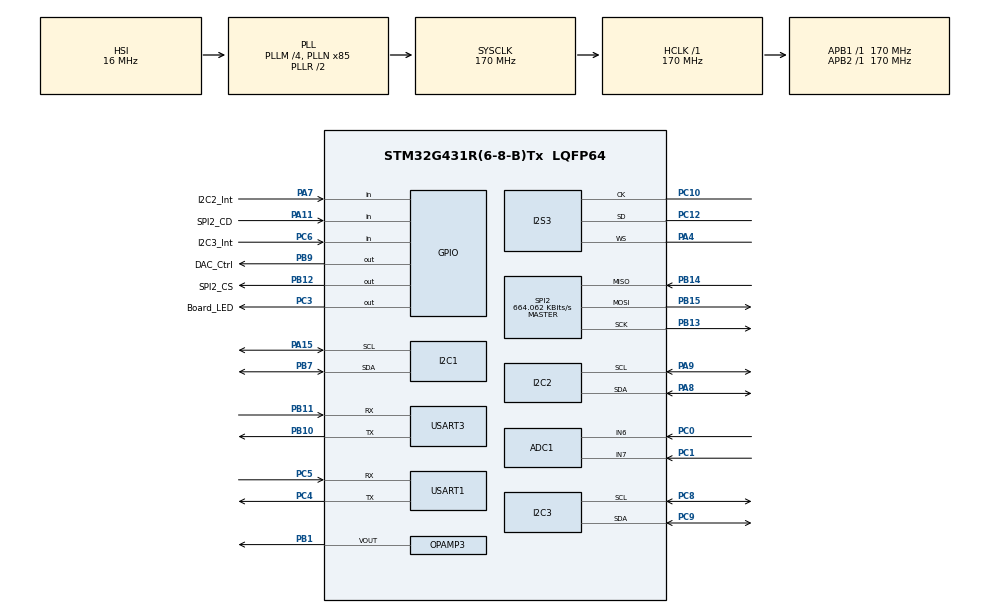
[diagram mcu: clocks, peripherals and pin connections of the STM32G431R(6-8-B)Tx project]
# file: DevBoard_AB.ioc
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ADC1.Channel-0\#ChannelRegularConversion=ADC_CHANNEL_6
ADC1.NbrOfConversionFlag=1
ADC1.OffsetNumber-0\#ChannelRegularConversion=ADC_OFFSET_NONE
ADC1.Rank-0\#ChannelRegularConversion=1
ADC1.SamplingTime-0\#ChannelRegularConversion=ADC_SAMPLETIME_2CYCLES_5
ADC1.SingleDiff-0\#ChannelRegularConversion=ADC_DIFFERENTIAL_ENDED
ADC1.master=1
DAC3.DAC_Channel-DAC_OUT2_Int=DAC_CHANNEL_2
Dma.Request0=SPI3_TX
Dma.Request1=USART1_RX
Dma.Request2=USART1_TX
Dma.SPI3_TX.0.Direction=DMA_MEMORY_TO_PERIPH
Dma.SPI3_TX.0.EventEnable=DISABLE
Dma.SPI3_TX.0.Instance=DMA1_Channel1
Dma.SPI3_TX.0.MemDataAlignment=DMA_MDATAALIGN_HALFWORD
Dma.SPI3_TX.0.MemInc=DMA_MINC_ENABLE
Dma.SPI3_TX.0.Mode=DMA_CIRCULAR
Dma.SPI3_TX.0.PeriphDataAlignment=DMA_PDATAALIGN_HALFWORD
Dma.SPI3_TX.0.PeriphInc=DMA_PINC_DISABLE
Dma.SPI3_TX.0.Polarity=HAL_DMAMUX_REQ_GEN_RISING
Dma.SPI3_TX.0.Priority=DMA_PRIORITY_LOW
Dma.SPI3_TX.0.RequestNumber=1
Dma.SPI3_TX.0.SignalID=NONE
Dma.SPI3_TX.0.SyncEnable=DISABLE
Dma.SPI3_TX.0.SyncPolarity=HAL_DMAMUX_SYNC_NO_EVENT
Dma.SPI3_TX.0.SyncRequestNumber=1
Dma.SPI3_TX.0.SyncSignalID=NONE
Dma.USART1_RX.1.Direction=DMA_PERIPH_TO_MEMORY
Dma.USART1_RX.1.EventEnable=DISABLE
Dma.USART1_RX.1.Instance=DMA1_Channel2
Dma.USART1_RX.1.MemDataAlignment=DMA_MDATAALIGN_BYTE
Dma.USART1_RX.1.MemInc=DMA_MINC_ENABLE
Dma.USART1_RX.1.Mode=DMA_NORMAL
Dma.USART1_RX.1.PeriphDataAlignment=DMA_PDATAALIGN_BYTE
Dma.USART1_RX.1.PeriphInc=DMA_PINC_DISABLE
Dma.USART1_RX.1.Polarity=HAL_DMAMUX_REQ_GEN_RISING
Dma.USART1_RX.1.Priority=DMA_PRIORITY_LOW
Dma.USART1_RX.1.RequestNumber=1
Dma.USART1_RX.1.SignalID=NONE
Dma.USART1_RX.1.SyncEnable=DISABLE
Dma.USART1_RX.1.SyncPolarity=HAL_DMAMUX_SYNC_NO_EVENT
Dma.USART1_RX.1.SyncRequestNumber=1
Dma.USART1_RX.1.SyncSignalID=NONE
Dma.USART1_TX.2.Direction=DMA_MEMORY_TO_PERIPH
Dma.USART1_TX.2.EventEnable=DISABLE
Dma.USART1_TX.2.Instance=DMA1_Channel3
Dma.USART1_TX.2.MemDataAlignment=DMA_MDATAALIGN_BYTE
Dma.USART1_TX.2.MemInc=DMA_MINC_ENABLE
Dma.USART1_TX.2.Mode=DMA_NORMAL
Dma.USART1_TX.2.PeriphDataAlignment=DMA_PDATAALIGN_BYTE
Dma.USART1_TX.2.PeriphInc=DMA_PINC_DISABLE
Dma.USART1_TX.2.Polarity=HAL_DMAMUX_REQ_GEN_RISING
Dma.USART1_TX.2.Priority=DMA_PRIORITY_LOW
Dma.USART1_TX.2.RequestNumber=1
Dma.USART1_TX.2.SignalID=NONE
Dma.USART1_TX.2.SyncEnable=DISABLE
Dma.USART1_TX.2.SyncPolarity=HAL_DMAMUX_SYNC_NO_EVENT
Dma.USART1_TX.2.SyncRequestNumber=1
Dma.USART1_TX.2.SyncSignalID=NONE
I2C1.Timing=0x40B285C2
I2C2.Timing=0x40B285C2
I2C3.Timing=0x40B285C2
I2S3.AudioFreq=I2S_AUDIOFREQ_44K
I2S3.ErrorAudioFreq=-0.21 %
I2S3.FullDuplexMode=I2S_FULLDUPLEXMODE_DISABLE
I2S3.Instance=SPI$Index
I2S3.RealAudioFreq=43.904 KHz
I2S3.VirtualMode=I2S_MODE_MASTER
Mcu.Family=STM32G4
Mcu.Name=STM32G431R(6-8-B)Tx
Mcu.Package=LQFP64
NUCLEO-G431RB.BUTTON=1
NUCLEO-G431RB.LD1=true
NUCLEO-G431RB.VCP=true
NVIC.DMA1_Channel1_IRQn=true\:0\:0\:false\:false\:true\:false\:true\:true
NVIC.DMA1_Channel2_IRQn=true\:0\:0\:false\:false\:true\:false\:true\:true
NVIC.DMA1_Channel3_IRQn=true\:0\:0\:false\:false\:true\:false\:true\:true
NVIC.EXTI15_10_IRQn=true\:0\:0\:false\:false\:true\:false\:true\:true
NVIC.PriorityGroup=NVIC_PRIORITYGROUP_4
NVIC.USART1_IRQn=true\:0\:0\:false\:false\:true\:true\:true\:true
PA11.GPIO_Label=SPI2_CD
PA11.GPIO_PuPd=GPIO_PULLUP
PA11.Signal=GPIO_Input
PA13.GPIO_Label=T_SWDIO
PA13.Signal=SYS_JTMS-SWDIO
PA14.GPIO_Label=T_SWCLK
PA14.Signal=SYS_JTCK-SWCLK
PA15.Mode=I2C
PA15.Signal=I2C1_SCL
PA2.Signal=LPUART1_TX
PA3.Signal=LPUART1_RX
PA4.GPIO_PuPd=GPIO_NOPULL
PA4.Mode=Half_Duplex_Master
PA4.Signal=I2S3_WS
PA7.GPIO_Label=I2C2_Int
PA7.GPIO_PuPd=GPIO_PULLUP
PA7.Signal=GPIO_Input
PA8.Mode=I2C
PA8.Signal=I2C2_SDA
PA9.Mode=I2C
PA9.Signal=I2C2_SCL
PB1.Mode=Follower-DAC_OUT2-INP
PB1.Signal=OPAMP3_VOUT
PB10.GPIO_PuPd=GPIO_PULLUP
PB10.Mode=Asynchronous
PB10.Signal=USART3_TX
PB11.GPIO_PuPd=GPIO_PULLUP
PB11.Mode=Asynchronous
PB11.Signal=USART3_RX
PB12.GPIO_Label=SPI2_CS
PB12.GPIO_PuPd=GPIO_PULLUP
PB12.PinState=GPIO_PIN_SET
PB12.Signal=GPIO_Output
PB13.GPIO_PuPd=GPIO_PULLUP
PB13.Mode=Full_Duplex_Master
PB13.Signal=SPI2_SCK
PB14.GPIO_PuPd=GPIO_PULLUP
PB14.Mode=Full_Duplex_Master
PB14.Signal=SPI2_MISO
PB15.GPIO_PuPd=GPIO_PULLUP
PB15.Mode=Full_Duplex_Master
PB15.Signal=SPI2_MOSI
PB3.GPIO_Label=T_SWO
PB3.Signal=SYS_JTDO-SWO
PB7.Mode=I2C
PB7.Signal=I2C1_SDA
PB9.GPIO_Label=DAC_Ctrl
PB9.Signal=GPIO_Output
PC0.Mode=IN6-Differential
PC0.Signal=ADC1_IN6
PC1.Mode=IN6-Differential
PC1.Signal=ADC1_IN7
PC10.Mode=Half_Duplex_Master
PC10.Signal=I2S3_CK
PC12.Mode=Half_Duplex_Master
PC12.Signal=I2S3_SD
PC14-OSC32_IN.GPIO_Label=RCC_OSC32_OUT
PC14-OSC32_IN.Signal=RCC_OSC32_IN
PC15-OSC32_OUT.GPIO_Label=RCC_OSC32_OUT
PC15-OSC32_OUT.Signal=RCC_OSC32_OUT
PC2.Signal=ADC1_IN8
PC3.GPIO_Label=Board_LED
PC3.Signal=GPIO_Output
PC4.GPIO_PuPd=GPIO_PULLUP
PC4.Mode=Asynchronous
PC4.Signal=USART1_TX
PC5.GPIO_PuPd=GPIO_PULLUP
PC5.Mode=Asynchronous
PC5.Signal=USART1_RX
PC6.GPIO_Label=I2C3_Int
PC6.Signal=GPIO_Input
PC8.Mode=I2C
PC8.Signal=I2C3_SCL
PC9.Mode=I2C
PC9.Signal=I2C3_SDA
PF0-OSC_IN.GPIO_Label=RCC_OSC_IN
PF0-OSC_IN.Mode=HSE-External-Oscillator
PF0-OSC_IN.Signal=RCC_OSC_IN
PF1-OSC_OUT.GPIO_Label=RCC_OSC_OUT
PF1-OSC_OUT.Mode=HSE-External-Oscillator
PF1-OSC_OUT.Signal=RCC_OSC_OUT
ProjectManager.HeapSize=0x200
ProjectManager.StackSize=0x400
ProjectManager.TargetToolchain=STM32CubeIDE
RCC.ADC12Freq_Value=170000000
RCC.AHBFreq_Value=170000000
RCC.APB1Freq_Value=170000000
RCC.APB1TimFreq_Value=170000000
RCC.APB2Freq_Value=170000000
RCC.APB2TimFreq_Value=170000000
RCC.CortexFreq_Value=170000000
RCC.EXTERNAL_CLOCK_VALUE=12288000
RCC.HCLKFreq_Value=170000000
RCC.HSE_VALUE=24000000
RCC.HSI48_VALUE=48000000
RCC.HSI_VALUE=16000000
RCC.LSE_VALUE=32768
RCC.PLLM=RCC_PLLM_DIV4
RCC.PLLN=85
RCC.RTCClockSelection=RCC_RTCCLKSOURCE_LSE
RCC.SYSCLKFreq_VALUE=170000000
RCC.SYSCLKSource=RCC_SYSCLKSOURCE_PLLCLK
RCC.USBFreq_Value=170000000
RCC.VCOOutputFreq_Value=340000000
SPI2.BaudRatePrescaler=SPI_BAUDRATEPRESCALER_256
SPI2.CalculateBaudRate=664.062 KBits/s
SPI2.DataSize=SPI_DATASIZE_8BIT
SPI2.Direction=SPI_DIRECTION_2LINES
SPI2.Mode=SPI_MODE_MASTER
SPI2.VirtualType=VM_MASTER
USART1.VirtualMode-Asynchronous=VM_ASYNC
USART3.VirtualMode-Asynchronous=VM_ASYNC
VP_DAC3_VS_DACI2.Mode=DAC_OUT2_Int
VP_FATFS_VS_Generic.Mode=User_defined
VP_NUCLEO-G431RB_VS_BSP_COMMON.Mode=COMMON
VP_SYS_VS_DBSignals.Mode=DisableDeadBatterySignals
board=NUCLEO-G431RB

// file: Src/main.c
/* USER CODE BEGIN Header */
/**
  ******************************************************************************
  * @file           : main.c
  * @brief          : Main program body
  ******************************************************************************
  * @attention
  *
  * Copyright (c) 2026 STMicroelectronics.
  * All rights reserved.
  *
  * This software is licensed under terms that can be found in the LICENSE file
  * in the root directory of this software component.
  * If no LICENSE file comes with this software, it is provided AS-IS.
  *
  ******************************************************************************
  */
/* USER CODE END Header */
#include "main.h"
#include "app_fatfs.h"

/* USER CODE BEGIN Includes */
#include <stdio.h>
#include <string.h>
#include <stdarg.h>
#include <math.h>
#include "my_TLV320DAC3100_driver.h"
/* USER CODE END Includes */

/* USER CODE BEGIN PD */
#define UART_MAX_SIZE 64

// 1024 buffer gives 256 samples of left and right per update (ping and pong)
// At 44.1 kHz, 256 samples is 5.8 ms.  Outputting sequential samples
// gives a frequency of 43 Hz.
#define AUDIO_BUF_SIZE 1024
#define SINE_BUF_SIZE 1024

/* USER CODE END PD */

COM_InitTypeDef BspCOMInit;
ADC_HandleTypeDef hadc1;

DAC_HandleTypeDef hdac3;

I2C_HandleTypeDef hi2c1;
I2C_HandleTypeDef hi2c2;
I2C_HandleTypeDef hi2c3;

I2S_HandleTypeDef hi2s3;
DMA_HandleTypeDef hdma_spi3_tx;

OPAMP_HandleTypeDef hopamp3;

SPI_HandleTypeDef hspi2;

UART_HandleTypeDef huart1;
UART_HandleTypeDef huart3;
DMA_HandleTypeDef hdma_usart1_rx;
DMA_HandleTypeDef hdma_usart1_tx;

/* USER CODE BEGIN PV */
DAC3100_HandleTypeDef my_dac;
uint16_t audioBuffer[AUDIO_BUF_SIZE];
int16_t sineBuffer[SINE_BUF_SIZE];
uint32_t sineFrequency = 440;
uint32_t sampleRate = 44100;
uint32_t phasePointer = 0;

volatile uint8_t fill_ping = 0;
volatile uint8_t fill_pong = 0;

uint8_t UART_rxBuffer[128];
uint16_t sampleBuffer[256];
/* USER CODE END PV */

void SystemClock_Config(void);
static void MX_GPIO_Init(void);
static void MX_DMA_Init(void);
static void MX_DAC3_Init(void);
static void MX_I2C1_Init(void);
static void MX_I2C2_Init(void);
static void MX_I2C3_Init(void);
static void MX_I2S3_Init(void);
static void MX_OPAMP3_Init(void);
static void MX_SPI2_Init(void);
static void MX_USART3_UART_Init(void);
static void MX_ADC1_Init(void);
static void MX_USART1_UART_Init(void);

/* USER CODE BEGIN 0 */
// Called when the DMA reaches the halfway mark of the audio buffer
void HAL_I2S_TxHalfCpltCallback(I2S_HandleTypeDef *hi2s)
{
    if (hi2s->Instance == hi2s3.Instance) {
        fill_ping = 1; // Signal the main loop to overwrite the first half
    }
}

// Called when the DMA reaches the exact end of the audio buffer
void HAL_I2S_TxCpltCallback(I2S_HandleTypeDef *hi2s)
{
    if (hi2s->Instance == hi2s3.Instance) {
        fill_pong = 1; // Signal the main loop to overwrite the second half
    }
}

// Called when something arrives back over the serial port
uint32_t rxStuffHereFlag = 0;
void HAL_UARTEx_RxEventCallback(UART_HandleTypeDef *huart, uint16_t Size) {
    if (huart->Instance == USART1) {
        // 'Size' gives you the exact number of bytes actually received
        // Process data up to rx_buffer[Size - 1]
    	rxStuffHereFlag = Size;

    	// Abort any remaining DMA transfer before re-initiating
        HAL_UART_AbortReceive(huart);

        // Re-start reception
        HAL_UARTEx_ReceiveToIdle_DMA(&huart1, UART_rxBuffer, UART_MAX_SIZE);
    }
}

// Fill up the sine buffer with a sampled sinewave (note sineBuffer is signed):
void FillSineBuffer() {
	double twopi = 6.28318530718;
	for (uint32_t loop = 0; loop < SINE_BUF_SIZE; loop++) {
		sineBuffer[loop] = (int16_t)(30000 * sin(loop * twopi / SINE_BUF_SIZE));
	}
}
/* USER CODE END 0 */

int main(void)
{

  /* MCU Configuration--------------------------------------------------------*/

  /* Reset of all peripherals, Initializes the Flash interface and the Systick. */
  HAL_Init();

  /* Configure the system clock */
  SystemClock_Config();

  /* Initialize all configured peripherals */
  MX_GPIO_Init();
  MX_DMA_Init();
  MX_DAC3_Init();
  MX_I2C1_Init();
  MX_I2C2_Init();
  MX_I2C3_Init();
  MX_I2S3_Init();
  MX_OPAMP3_Init();
  MX_SPI2_Init();
  MX_USART3_UART_Init();
  MX_ADC1_Init();
  MX_USART1_UART_Init();
  if (MX_FATFS_Init() != APP_OK) {
    Error_Handler();
  }
  /* USER CODE BEGIN 2 */

  // Can't use this space since the BSP functions are put after it.
  // Annoying, this.

  /* USER CODE END 2 */

  /* Initialize leds */
  BSP_LED_Init(LED_GREEN);

  /* Initialize USER push-button, will be used to trigger an interrupt each time it's pressed.*/
  BSP_PB_Init(BUTTON_USER, BUTTON_MODE_EXTI);

  /* Initialize COM1 port (115200, 8 bits (7-bit data + 1 stop bit), no parity */
  BspCOMInit.BaudRate   = 115200;
  BspCOMInit.WordLength = COM_WORDLENGTH_8B;
  BspCOMInit.StopBits   = COM_STOPBITS_1;
  BspCOMInit.Parity     = COM_PARITY_NONE;
  BspCOMInit.HwFlowCtl  = COM_HWCONTROL_NONE;
  if (BSP_COM_Init(COM1, &BspCOMInit) != BSP_ERROR_NONE)
  {
    Error_Handler();
  }

  /* Infinite loop */
  /* USER CODE BEGIN WHILE */
  // This stuff put here (after the "Infinite loop" comment) because STM32CubeMX has this
  // strange habit of putting the BSP functions after User Code 2.

  // SD code is based on the demo by kiwih - see docs
  printf("\r\n~ Trying to access the SD card ~\r\n");
  HAL_Delay(1000); //a short delay is important to let the SD card settle

  // Some variables required for FatFs
  FATFS FatFs; 	// Fatfs handle
  FIL fil; 		// File handle
  FRESULT fres; // Result after operations

  // Open the file system
  fres = f_mount(&FatFs, "", 1); // 1 = mount now
  if (fres != FR_OK) {
	printf("f_mount error (%i)\r\n", fres);
	while(1);
  }

  // Let's get some statistics from the SD card:
  DWORD free_clusters, free_sectors, total_sectors;

  FATFS* getFreeFs;

  fres = f_getfree("", &free_clusters, &getFreeFs);
  if (fres != FR_OK) {
	printf("f_getfree error (%i)\r\n", fres);
	while(1);
  }

  // Formula comes from ChaN's documentation:
  total_sectors = (getFreeFs->n_fatent - 2) * getFreeFs->csize;
  free_sectors = free_clusters * getFreeFs->csize;

  printf("SD card stats:\r\n%10lu KiB total drive space.\r\n%10lu KiB available.\r\n", total_sectors / 2, free_sectors / 2);

  // Not done yet (there is audio on the drive) so do not demount it:
  // f_mount(NULL, "", 0);

  // Try to open up the file of sound samples from the SD card, which for this
  // example has to be called "sound.dat" and be a raw 16-bit file of samples
  // with no headers.
  fres = f_open(&fil, "sound.dat", FA_READ);
  if (fres != FR_OK) {
	printf("f_open error (%i) on sound.dat file\r\n", fres);
	while(1);
  }
  printf("Good news: I was able to open 'sound.dat' for reading.\r\n");

  // Check I can read the first 512 byte chunk from the file into the sample buffer:
  BYTE readBufAudio[512];

  // Raw binary data, so use f_read() not f_gets():
  UINT bytesRead = 0;
  FRESULT frres = f_read(&fil, (TCHAR*)readBufAudio, 512, &bytesRead);
  if(frres == FR_OK) {
	printf("Read %i sound samples from 'sound.dat'.\r\n", (int)bytesRead);
  } else {
	printf("f_read error on sound.dat (%i)\r\n", frres);
  }

  // And if all is well, convert these samples into a set of 256 16-bit samples
  // stored in sampleBuffer:
  for (uint32_t loop = 0; loop < 256; loop++) {
	  sampleBuffer[loop] = (readBufAudio[2*loop + 1] << 8) + readBufAudio[2*loop];
  }

  // Fill up the array of sine samples:
  FillSineBuffer();
  printf("Sine buffer filled.\n");

  // Start reception from the UART:
  HAL_UARTEx_ReceiveToIdle_DMA(&huart1, UART_rxBuffer, UART_MAX_SIZE);

  // Send out a trial message from the UART:
  char my_data[4];
  my_data[0] = 244;
  my_data[1] = 1;
  my_data[2] = 0;
  my_data[3] = 1;

  HAL_UART_Transmit_DMA(&huart1, (uint8_t*)my_data, sizeof(my_data));
  printf("Message sent from serial port.\n");

  // Next, try setting up the audio DAC:
  printf("\r\n~ Setting up the TLV320DAC3100 audio DAC ~\r\n");

  // I might need to set the I2S going first, so the DAC PLL has something
  // to lock onto.  But before anything else: reset the DAC (it has a habit
  // of hanging in an undefined state when powered up:
  HAL_GPIO_WritePin(GPIOB, GPIO_PIN_9, GPIO_PIN_RESET);
  HAL_Delay(20);
  HAL_GPIO_WritePin(GPIOB, GPIO_PIN_9, GPIO_PIN_SET);
  HAL_Delay(20);

  my_init_tlv320DAC3100(&my_dac, &hi2c1, &hi2s3);
  DAC3100_StartAudio(&hi2s3, audioBuffer, AUDIO_BUF_SIZE);
  uint32_t pingGoing = 0;

  // For this test program, I'll get the pitch of the note to change
  // every time the machine detects a sample coming in.  This needs a set of
  // different pitches, which are stored in terms of the increment of the
  // phase variable each time.
  uint32_t currentToneIndex = 0;
  float pitchFrequencies[] = {130, 146, 164, 196, 220, 261, 293, 329, 392, 440, 523};
  float currentPhaseStep = pitchFrequencies[currentToneIndex++] / 43.07;
  float currentPhaseOffset = 0;

  while (1)
  {
	// HAL_Delay(500);

	if (rxStuffHereFlag > 0) {

		// The prints are effectively commented out, as the printf() was taking so long
		// it was causing transient glitches in the audio every time something needed to
		// be printed out.
		if (rxStuffHereFlag > 1000) {
			printf("UART data received: length %d: ", (int)rxStuffHereFlag);
			for (int u = 0; u < rxStuffHereFlag; u++) {
				printf("0x%x ", UART_rxBuffer[u]);
			}
			printf("\r\n");
		}

		// Reset flag:
		rxStuffHereFlag = 0;

		// And start a ping:
		pingGoing = 1;
    	f_rewind(&fil);

    	// Then change the pitch of the sinewave:
    	if (currentToneIndex > 10) currentToneIndex = 0;
    	currentPhaseStep = pitchFrequencies[currentToneIndex++] / 43.07;
	}

	uint32_t startFill = 0, endFill = 0;
	if (fill_ping) {
		endFill = AUDIO_BUF_SIZE / 2;
		fill_ping = 0;
	}
	else if (fill_pong) {
		startFill = AUDIO_BUF_SIZE / 2;
		endFill = AUDIO_BUF_SIZE;
		fill_pong = 0;
	}

	if (startFill != endFill) {
		// For testing, I'd like to know how long this fill process takes, so I'll set
		// a pin high when it starts, then reset it low again at the end.  I can then
		// take a look on the scope while it's running at full speed.  I'll use PB8
		// as it's easy to find on the connector and not doing anything else.
        HAL_GPIO_WritePin(GPIOB, GPIO_PIN_8, GPIO_PIN_SET);

		// Refresh whichever half of the audio buffer needs refreshing.
		// For now, I'll just read one sample of sineBuffer per sample in audio_buffer;
		// I can worry about the frequency later.
        for (uint32_t loop = startFill; loop < endFill; loop += 2) {
           currentPhaseOffset += currentPhaseStep;
           if (currentPhaseOffset > SINE_BUF_SIZE) currentPhaseOffset -= SINE_BUF_SIZE;
           uint16_t thisPhase = (uint16_t) currentPhaseOffset;
     	   audioBuffer[loop] = (uint16_t)(sineBuffer[thisPhase]);
     	   audioBuffer[loop + 1] = (uint16_t)(sineBuffer[thisPhase]);
        }

        // Next, check to see if a ping is in progress, and if so, use the next lot of samples.
        // Note I've arranged this so that AUDIO_BUF_SIZE is exactly 512 bytes' worth of data
        // from the microSD card for simplicity and efficiency: I can just upload the next lot
        // of data into the audioBuffer, and then immediately get the next lot from the SD card:
        if (pingGoing > 0) {

        	// First, read the next 512 bytes (256 samples) from the sound.dat file:
            UINT bytesReadInLoop = 0;
            FRESULT frres = f_read(&fil, (TCHAR*)readBufAudio, 512, &bytesReadInLoop);
            if (bytesReadInLoop == 512) {
            	for (uint32_t loop = 0; loop < bytesReadInLoop / 2; loop++) {
            		sampleBuffer[loop] = (readBufAudio[2*loop + 1] << 8) + readBufAudio[2*loop];
            	}
            }
            else {
            	// We've run out of audio data.  Set everything to silent and turn off the ping:
            	for (uint32_t loop = 0; loop < 256; loop += 2) {
            		sampleBuffer[loop] = 0;
            	}
               	pingGoing = 0;
            }

            // Then use this sample data to fill up the audio buffer:
            uint32_t index = 0;
            for (uint32_t loop = startFill; loop < endFill; loop += 2) {
         	   audioBuffer[loop + 1] = (uint16_t)(sampleBuffer[index++]);
            }
        }
        else {
            for (uint32_t loop = startFill; loop < endFill; loop += 2) {
         	   audioBuffer[loop + 1] = 0;
            }
        }

        // Reset to logic low the test pin used for timing checks:
		HAL_GPIO_WritePin(GPIOB, GPIO_PIN_8, GPIO_PIN_RESET);
	}

    /* USER CODE END WHILE */

  }
}

void SystemClock_Config(void)
{
  RCC_OscInitTypeDef RCC_OscInitStruct = {0};
  RCC_ClkInitTypeDef RCC_ClkInitStruct = {0};

  /** Configure the main internal regulator output voltage
  */
  HAL_PWREx_ControlVoltageScaling(PWR_REGULATOR_VOLTAGE_SCALE1_BOOST);

  /** Initializes the RCC Oscillators according to the specified parameters
  * in the RCC_OscInitTypeDef structure.
  */
  RCC_OscInitStruct.OscillatorType = RCC_OSCILLATORTYPE_HSI;
  RCC_OscInitStruct.HSIState = RCC_HSI_ON;
  RCC_OscInitStruct.HSICalibrationValue = RCC_HSICALIBRATION_DEFAULT;
  RCC_OscInitStruct.PLL.PLLState = RCC_PLL_ON;
  RCC_OscInitStruct.PLL.PLLSource = RCC_PLLSOURCE_HSI;
  RCC_OscInitStruct.PLL.PLLM = RCC_PLLM_DIV4;
  RCC_OscInitStruct.PLL.PLLN = 85;
  RCC_OscInitStruct.PLL.PLLP = RCC_PLLP_DIV2;
  RCC_OscInitStruct.PLL.PLLQ = RCC_PLLQ_DIV2;
  RCC_OscInitStruct.PLL.PLLR = RCC_PLLR_DIV2;
  if (HAL_RCC_OscConfig(&RCC_OscInitStruct) != HAL_OK)
  {
    Error_Handler();
  }

  /** Initializes the CPU, AHB and APB buses clocks
  */
  RCC_ClkInitStruct.ClockType = RCC_CLOCKTYPE_HCLK|RCC_CLOCKTYPE_SYSCLK
                              |RCC_CLOCKTYPE_PCLK1|RCC_CLOCKTYPE_PCLK2;
  RCC_ClkInitStruct.SYSCLKSource = RCC_SYSCLKSOURCE_PLLCLK;
  RCC_ClkInitStruct.AHBCLKDivider = RCC_SYSCLK_DIV1;
  RCC_ClkInitStruct.APB1CLKDivider = RCC_HCLK_DIV1;
  RCC_ClkInitStruct.APB2CLKDivider = RCC_HCLK_DIV1;

  if (HAL_RCC_ClockConfig(&RCC_ClkInitStruct, FLASH_LATENCY_4) != HAL_OK)
  {
    Error_Handler();
  }
}

static void MX_ADC1_Init(void)
{

  ADC_MultiModeTypeDef multimode = {0};
  ADC_ChannelConfTypeDef sConfig = {0};

  /** Common config
  */
  hadc1.Instance = ADC1;
  hadc1.Init.ClockPrescaler = ADC_CLOCK_SYNC_PCLK_DIV4;
  hadc1.Init.Resolution = ADC_RESOLUTION_12B;
  hadc1.Init.DataAlign = ADC_DATAALIGN_RIGHT;
  hadc1.Init.GainCompensation = 0;
  hadc1.Init.ScanConvMode = ADC_SCAN_DISABLE;
  hadc1.Init.EOCSelection = ADC_EOC_SINGLE_CONV;
  hadc1.Init.LowPowerAutoWait = DISABLE;
  hadc1.Init.ContinuousConvMode = DISABLE;
  hadc1.Init.NbrOfConversion = 1;
  hadc1.Init.DiscontinuousConvMode = DISABLE;
  hadc1.Init.ExternalTrigConv = ADC_SOFTWARE_START;
  hadc1.Init.ExternalTrigConvEdge = ADC_EXTERNALTRIGCONVEDGE_NONE;
  hadc1.Init.DMAContinuousRequests = DISABLE;
  hadc1.Init.Overrun = ADC_OVR_DATA_PRESERVED;
  hadc1.Init.OversamplingMode = DISABLE;
  if (HAL_ADC_Init(&hadc1) != HAL_OK)
  {
    Error_Handler();
  }

  /** Configure the ADC multi-mode
  */
  multimode.Mode = ADC_MODE_INDEPENDENT;
  if (HAL_ADCEx_MultiModeConfigChannel(&hadc1, &multimode) != HAL_OK)
  {
    Error_Handler();
  }

  /** Configure Regular Channel
  */
  sConfig.Channel = ADC_CHANNEL_6;
  sConfig.Rank = ADC_REGULAR_RANK_1;
  sConfig.SamplingTime = ADC_SAMPLETIME_2CYCLES_5;
  sConfig.SingleDiff = ADC_DIFFERENTIAL_ENDED;
  sConfig.OffsetNumber = ADC_OFFSET_NONE;
  sConfig.Offset = 0;
  if (HAL_ADC_ConfigChannel(&hadc1, &sConfig) != HAL_OK)
  {
    Error_Handler();
  }

}

static void MX_DAC3_Init(void)
{

  DAC_ChannelConfTypeDef sConfig = {0};

  /** DAC Initialization
  */
  hdac3.Instance = DAC3;
  if (HAL_DAC_Init(&hdac3) != HAL_OK)
  {
    Error_Handler();
  }

  /** DAC channel OUT2 config
  */
  sConfig.DAC_HighFrequency = DAC_HIGH_FREQUENCY_INTERFACE_MODE_AUTOMATIC;
  sConfig.DAC_DMADoubleDataMode = DISABLE;
  sConfig.DAC_SignedFormat = DISABLE;
  sConfig.DAC_SampleAndHold = DAC_SAMPLEANDHOLD_DISABLE;
  sConfig.DAC_Trigger = DAC_TRIGGER_NONE;
  sConfig.DAC_Trigger2 = DAC_TRIGGER_NONE;
  sConfig.DAC_OutputBuffer = DAC_OUTPUTBUFFER_DISABLE;
  sConfig.DAC_ConnectOnChipPeripheral = DAC_CHIPCONNECT_INTERNAL;
  sConfig.DAC_UserTrimming = DAC_TRIMMING_FACTORY;
  if (HAL_DAC_ConfigChannel(&hdac3, &sConfig, DAC_CHANNEL_2) != HAL_OK)
  {
    Error_Handler();
  }

}

static void MX_I2C1_Init(void)
{

  hi2c1.Instance = I2C1;
  hi2c1.Init.Timing = 0x40B285C2;
  hi2c1.Init.OwnAddress1 = 0;
  hi2c1.Init.AddressingMode = I2C_ADDRESSINGMODE_7BIT;
  hi2c1.Init.DualAddressMode = I2C_DUALADDRESS_DISABLE;
  hi2c1.Init.OwnAddress2 = 0;
  hi2c1.Init.OwnAddress2Masks = I2C_OA2_NOMASK;
  hi2c1.Init.GeneralCallMode = I2C_GENERALCALL_DISABLE;
  hi2c1.Init.NoStretchMode = I2C_NOSTRETCH_DISABLE;
  if (HAL_I2C_Init(&hi2c1) != HAL_OK)
  {
    Error_Handler();
  }

  /** Configure Analogue filter
  */
  if (HAL_I2CEx_ConfigAnalogFilter(&hi2c1, I2C_ANALOGFILTER_ENABLE) != HAL_OK)
  {
    Error_Handler();
  }

  /** Configure Digital filter
  */
  if (HAL_I2CEx_ConfigDigitalFilter(&hi2c1, 0) != HAL_OK)
  {
    Error_Handler();
  }

}

static void MX_I2C2_Init(void)
{

  hi2c2.Instance = I2C2;
  hi2c2.Init.Timing = 0x40B285C2;
  hi2c2.Init.OwnAddress1 = 0;
  hi2c2.Init.AddressingMode = I2C_ADDRESSINGMODE_7BIT;
  hi2c2.Init.DualAddressMode = I2C_DUALADDRESS_DISABLE;
  hi2c2.Init.OwnAddress2 = 0;
  hi2c2.Init.OwnAddress2Masks = I2C_OA2_NOMASK;
  hi2c2.Init.GeneralCallMode = I2C_GENERALCALL_DISABLE;
  hi2c2.Init.NoStretchMode = I2C_NOSTRETCH_DISABLE;
  if (HAL_I2C_Init(&hi2c2) != HAL_OK)
  {
    Error_Handler();
  }

  /** Configure Analogue filter
  */
  if (HAL_I2CEx_ConfigAnalogFilter(&hi2c2, I2C_ANALOGFILTER_ENABLE) != HAL_OK)
  {
    Error_Handler();
  }

  /** Configure Digital filter
  */
  if (HAL_I2CEx_ConfigDigitalFilter(&hi2c2, 0) != HAL_OK)
  {
    Error_Handler();
  }

}

static void MX_I2C3_Init(void)
{

  hi2c3.Instance = I2C3;
  hi2c3.Init.Timing = 0x40B285C2;
  hi2c3.Init.OwnAddress1 = 0;
  hi2c3.Init.AddressingMode = I2C_ADDRESSINGMODE_7BIT;
  hi2c3.Init.DualAddressMode = I2C_DUALADDRESS_DISABLE;
  hi2c3.Init.OwnAddress2 = 0;
  hi2c3.Init.OwnAddress2Masks = I2C_OA2_NOMASK;
  hi2c3.Init.GeneralCallMode = I2C_GENERALCALL_DISABLE;
  hi2c3.Init.NoStretchMode = I2C_NOSTRETCH_DISABLE;
  if (HAL_I2C_Init(&hi2c3) != HAL_OK)
  {
    Error_Handler();
  }

  /** Configure Analogue filter
  */
  if (HAL_I2CEx_ConfigAnalogFilter(&hi2c3, I2C_ANALOGFILTER_ENABLE) != HAL_OK)
  {
    Error_Handler();
  }

  /** Configure Digital filter
  */
  if (HAL_I2CEx_ConfigDigitalFilter(&hi2c3, 0) != HAL_OK)
  {
    Error_Handler();
  }

}

static void MX_I2S3_Init(void)
{

  hi2s3.Instance = SPI3;
  hi2s3.Init.Mode = I2S_MODE_MASTER_TX;
  hi2s3.Init.Standard = I2S_STANDARD_PHILIPS;
  hi2s3.Init.DataFormat = I2S_DATAFORMAT_16B;
  hi2s3.Init.MCLKOutput = I2S_MCLKOUTPUT_DISABLE;
  hi2s3.Init.AudioFreq = I2S_AUDIOFREQ_44K;
  hi2s3.Init.CPOL = I2S_CPOL_LOW;
  if (HAL_I2S_Init(&hi2s3) != HAL_OK)
  {
    Error_Handler();
  }

}

static void MX_OPAMP3_Init(void)
{

  hopamp3.Instance = OPAMP3;
  hopamp3.Init.PowerMode = OPAMP_POWERMODE_NORMALSPEED;
  hopamp3.Init.Mode = OPAMP_FOLLOWER_MODE;
  hopamp3.Init.NonInvertingInput = OPAMP_NONINVERTINGINPUT_DAC;
  hopamp3.Init.InternalOutput = DISABLE;
  hopamp3.Init.TimerControlledMuxmode = OPAMP_TIMERCONTROLLEDMUXMODE_DISABLE;
  hopamp3.Init.UserTrimming = OPAMP_TRIMMING_FACTORY;
  if (HAL_OPAMP_Init(&hopamp3) != HAL_OK)
  {
    Error_Handler();
  }

}

static void MX_SPI2_Init(void)
{

  /* SPI2 parameter configuration*/
  hspi2.Instance = SPI2;
  hspi2.Init.Mode = SPI_MODE_MASTER;
  hspi2.Init.Direction = SPI_DIRECTION_2LINES;
  hspi2.Init.DataSize = SPI_DATASIZE_8BIT;
  hspi2.Init.CLKPolarity = SPI_POLARITY_LOW;
  hspi2.Init.CLKPhase = SPI_PHASE_1EDGE;
  hspi2.Init.NSS = SPI_NSS_SOFT;
  hspi2.Init.BaudRatePrescaler = SPI_BAUDRATEPRESCALER_256;
  hspi2.Init.FirstBit = SPI_FIRSTBIT_MSB;
  hspi2.Init.TIMode = SPI_TIMODE_DISABLE;
  hspi2.Init.CRCCalculation = SPI_CRCCALCULATION_DISABLE;
  hspi2.Init.CRCPolynomial = 7;
  hspi2.Init.CRCLength = SPI_CRC_LENGTH_DATASIZE;
  hspi2.Init.NSSPMode = SPI_NSS_PULSE_ENABLE;
  if (HAL_SPI_Init(&hspi2) != HAL_OK)
  {
    Error_Handler();
  }

}

static void MX_USART1_UART_Init(void)
{

  huart1.Instance = USART1;
  huart1.Init.BaudRate = 115200;
  huart1.Init.WordLength = UART_WORDLENGTH_8B;
  huart1.Init.StopBits = UART_STOPBITS_1;
  huart1.Init.Parity = UART_PARITY_NONE;
  huart1.Init.Mode = UART_MODE_TX_RX;
  huart1.Init.HwFlowCtl = UART_HWCONTROL_NONE;
  huart1.Init.OverSampling = UART_OVERSAMPLING_16;
  huart1.Init.OneBitSampling = UART_ONE_BIT_SAMPLE_DISABLE;
  huart1.Init.ClockPrescaler = UART_PRESCALER_DIV1;
  huart1.AdvancedInit.AdvFeatureInit = UART_ADVFEATURE_NO_INIT;
  if (HAL_UART_Init(&huart1) != HAL_OK)
  {
    Error_Handler();
  }
  if (HAL_UARTEx_SetTxFifoThreshold(&huart1, UART_TXFIFO_THRESHOLD_1_8) != HAL_OK)
  {
    Error_Handler();
  }
  if (HAL_UARTEx_SetRxFifoThreshold(&huart1, UART_RXFIFO_THRESHOLD_1_8) != HAL_OK)
  {
    Error_Handler();
  }
  if (HAL_UARTEx_DisableFifoMode(&huart1) != HAL_OK)
  {
    Error_Handler();
  }

}

static void MX_USART3_UART_Init(void)
{

  huart3.Instance = USART3;
  huart3.Init.BaudRate = 115200;
  huart3.Init.WordLength = UART_WORDLENGTH_8B;
  huart3.Init.StopBits = UART_STOPBITS_1;
  huart3.Init.Parity = UART_PARITY_NONE;
  huart3.Init.Mode = UART_MODE_TX_RX;
  huart3.Init.HwFlowCtl = UART_HWCONTROL_NONE;
  huart3.Init.OverSampling = UART_OVERSAMPLING_16;
  huart3.Init.OneBitSampling = UART_ONE_BIT_SAMPLE_DISABLE;
  huart3.Init.ClockPrescaler = UART_PRESCALER_DIV1;
  huart3.AdvancedInit.AdvFeatureInit = UART_ADVFEATURE_NO_INIT;
  if (HAL_UART_Init(&huart3) != HAL_OK)
  {
    Error_Handler();
  }
  if (HAL_UARTEx_SetTxFifoThreshold(&huart3, UART_TXFIFO_THRESHOLD_1_8) != HAL_OK)
  {
    Error_Handler();
  }
  if (HAL_UARTEx_SetRxFifoThreshold(&huart3, UART_RXFIFO_THRESHOLD_1_8) != HAL_OK)
  {
    Error_Handler();
  }
  if (HAL_UARTEx_DisableFifoMode(&huart3) != HAL_OK)
  {
    Error_Handler();
  }

}

static void MX_DMA_Init(void)
{

  /* DMA controller clock enable */
  __HAL_RCC_DMAMUX1_CLK_ENABLE();
  __HAL_RCC_DMA1_CLK_ENABLE();

  /* DMA interrupt init */
  /* DMA1_Channel1_IRQn interrupt configuration */
  HAL_NVIC_SetPriority(DMA1_Channel1_IRQn, 0, 0);
  HAL_NVIC_EnableIRQ(DMA1_Channel1_IRQn);
  /* DMA1_Channel2_IRQn interrupt configuration */
  HAL_NVIC_SetPriority(DMA1_Channel2_IRQn, 0, 0);
  HAL_NVIC_EnableIRQ(DMA1_Channel2_IRQn);
  /* DMA1_Channel3_IRQn interrupt configuration */
  HAL_NVIC_SetPriority(DMA1_Channel3_IRQn, 0, 0);
  HAL_NVIC_EnableIRQ(DMA1_Channel3_IRQn);

}

static void MX_GPIO_Init(void)
{
  GPIO_InitTypeDef GPIO_InitStruct = {0};

  /* GPIO Ports Clock Enable */
  __HAL_RCC_GPIOC_CLK_ENABLE();
  __HAL_RCC_GPIOF_CLK_ENABLE();
  __HAL_RCC_GPIOA_CLK_ENABLE();
  __HAL_RCC_GPIOB_CLK_ENABLE();

  /*Configure GPIO pin Output Level */
  HAL_GPIO_WritePin(Board_LED_GPIO_Port, Board_LED_Pin, GPIO_PIN_RESET);

  /*Configure GPIO pin Output Level */
  HAL_GPIO_WritePin(SPI2_CS_GPIO_Port, SPI2_CS_Pin, GPIO_PIN_SET);

  /*Configure GPIO pin Output Level */
  HAL_GPIO_WritePin(DAC_Ctrl_GPIO_Port, DAC_Ctrl_Pin, GPIO_PIN_RESET);

  /*Configure GPIO pin : Board_LED_Pin */
  GPIO_InitStruct.Pin = Board_LED_Pin;
  GPIO_InitStruct.Mode = GPIO_MODE_OUTPUT_PP;
  GPIO_InitStruct.Pull = GPIO_NOPULL;
  GPIO_InitStruct.Speed = GPIO_SPEED_FREQ_LOW;
  HAL_GPIO_Init(Board_LED_GPIO_Port, &GPIO_InitStruct);

  /*Configure GPIO pins : I2C2_Int_Pin SPI2_CD_Pin */
  GPIO_InitStruct.Pin = I2C2_Int_Pin|SPI2_CD_Pin;
  GPIO_InitStruct.Mode = GPIO_MODE_INPUT;
  GPIO_InitStruct.Pull = GPIO_PULLUP;
  HAL_GPIO_Init(GPIOA, &GPIO_InitStruct);

  /*Configure GPIO pin : SPI2_CS_Pin */
  GPIO_InitStruct.Pin = SPI2_CS_Pin;
  GPIO_InitStruct.Mode = GPIO_MODE_OUTPUT_PP;
  GPIO_InitStruct.Pull = GPIO_PULLUP;
  GPIO_InitStruct.Speed = GPIO_SPEED_FREQ_LOW;
  HAL_GPIO_Init(SPI2_CS_GPIO_Port, &GPIO_InitStruct);

  /*Configure GPIO pin : I2C3_Int_Pin */
  GPIO_InitStruct.Pin = I2C3_Int_Pin;
  GPIO_InitStruct.Mode = GPIO_MODE_INPUT;
  GPIO_InitStruct.Pull = GPIO_NOPULL;
  HAL_GPIO_Init(I2C3_Int_GPIO_Port, &GPIO_InitStruct);

  /*Configure GPIO pin : DAC_Ctrl_Pin */
  GPIO_InitStruct.Pin = DAC_Ctrl_Pin;
  GPIO_InitStruct.Mode = GPIO_MODE_OUTPUT_PP;
  GPIO_InitStruct.Pull = GPIO_NOPULL;
  GPIO_InitStruct.Speed = GPIO_SPEED_FREQ_LOW;
  HAL_GPIO_Init(DAC_Ctrl_GPIO_Port, &GPIO_InitStruct);

  /* USER CODE BEGIN MX_GPIO_Init_2 */

  // Configure GPIO pin PB8 for general timing tests in the update cycle
  GPIO_InitStruct.Pin = GPIO_PIN_8;
  GPIO_InitStruct.Mode = GPIO_MODE_OUTPUT_PP;
  GPIO_InitStruct.Pull = GPIO_NOPULL;
  GPIO_InitStruct.Speed = GPIO_SPEED_FREQ_LOW;
  HAL_GPIO_Init(GPIOB, &GPIO_InitStruct);

  /* USER CODE END MX_GPIO_Init_2 */
}

void Error_Handler(void)
{
  __disable_irq();
  while (1)
  {
  }
}
